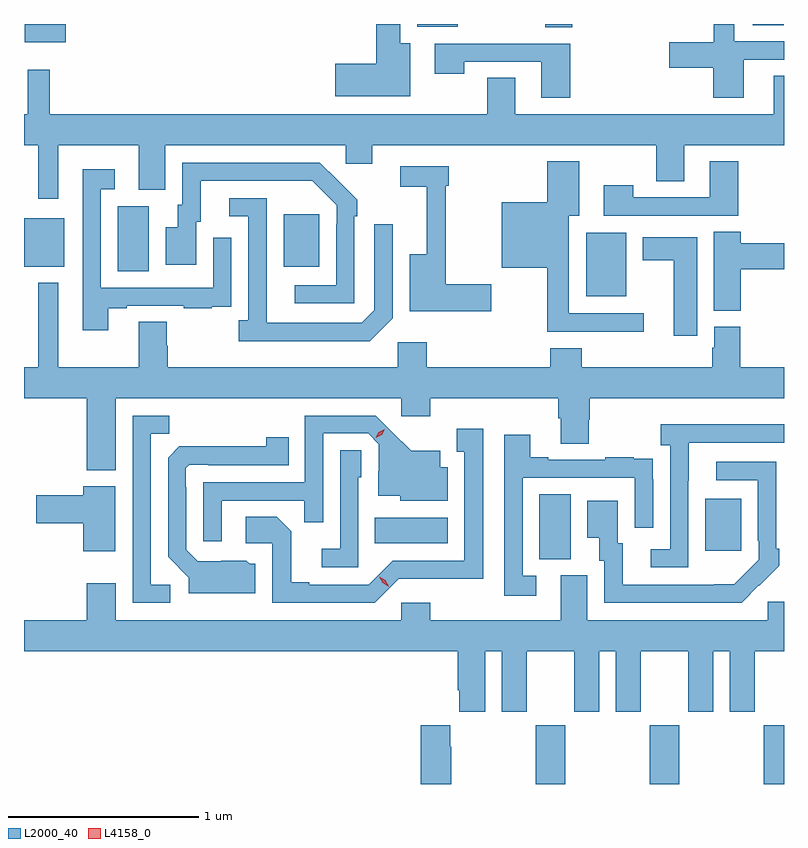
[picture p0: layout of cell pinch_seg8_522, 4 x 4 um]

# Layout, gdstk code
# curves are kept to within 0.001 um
import gdstk
lib = gdstk.Library(unit=1e-6, precision=1e-09)
def R(c, l, rs):  # rectangles x0, y0, x1, y1
    for r in rs: c.add(gdstk.rectangle(r[:2], r[2:], *l))
def P(c, l, *ps):  # polygons
    for p in ps: c.add(gdstk.Polygon(p, *l))
L2000_40 = (2000, 40)
L4158_0 = (4158, 0)

pinch_seg8_522 = lib.new_cell('pinch_seg8_522')
R(pinch_seg8_522, L2000_40, [(132.667,1117.134,132.822,1117.444), (133.267,1117.134,133.422,1117.444), (133.867,1117.134,133.973,1117.444), (132.686,1118.317,132.85,1118.66), (133.559,1118.361,133.747,1118.635), (131.818,1118.402,132.202,1118.536), (132.932,1119.701,133.144,1120.036), (130.466,1119.832,130.63,1120.176), (129.973,1119.857,130.186,1120.111), (131.339,1119.857,131.527,1120.132), (129.977,1121.039,130.192,1121.134), (132.716,1121.116,132.858,1121.134), (132.044,1121.12,132.256,1121.134), (133.808,1121.128,133.972,1121.134)])
P(pinch_seg8_522, L2000_40, [(133.762,1120.947),(133.973,1120.947),(133.973,1121.043),(133.71,1121.043),(133.71,1121.134),(133.602,1121.134),(133.602,1121.039),(133.368,1121.039),(133.368,1120.904),(133.601,1120.904),(133.601,1120.746),(133.762,1120.746)],
  [(132.007,1121.032),(131.953,1121.032),(131.953,1121.134),(131.828,1121.134),(131.828,1120.925),(131.61,1120.925),(131.61,1120.754),(132.007,1120.754)],
  [(132.848,1121.031),(132.135,1121.031),(132.135,1120.872),(132.291,1120.872),(132.291,1120.935),(132.695,1120.935),(132.695,1120.746),(132.848,1120.746)],
  [(130.109,1120.894),(129.992,1120.894),(129.992,1120.66),(129.973,1120.66),(129.973,1120.496),(130.049,1120.496),(130.049,1120.215),(130.153,1120.215),(130.153,1120.496),(130.577,1120.496),(130.577,1120.261),(130.717,1120.261),(130.717,1120.496),(131.667,1120.496),(131.667,1120.398),(131.806,1120.398),(131.806,1120.496),(133.3,1120.496),(133.3,1120.306),(133.447,1120.306),(133.447,1120.496),(133.973,1120.496),(133.973,1120.862),(133.919,1120.862),(133.919,1120.66),(132.559,1120.66),(132.559,1120.85),(132.412,1120.85),(132.412,1120.66),(130.109,1120.66)],
  [(133.234,1119.612),(132.841,1119.612),(132.841,1120.124),(132.895,1120.124),(132.895,1120.411),(132.728,1120.411),(132.728,1120.195),(132.488,1120.195),(132.488,1119.851),(132.728,1119.851),(132.728,1119.515),(133.234,1119.515)],
  [(133.731,1120.411),(133.583,1120.411),(133.583,1120.221),(133.179,1120.221),(133.179,1120.285),(133.023,1120.285),(133.023,1120.125),(133.731,1120.125)],
  [(131.712,1120.121),(131.727,1120.121),(131.727,1120.209),(131.53,1120.404),(130.806,1120.404),(130.806,1120.182),(130.781,1120.182),(130.781,1120.063),(130.718,1120.063),(130.718,1119.867),(130.879,1119.867),(130.879,1120.092),(130.903,1120.092),(130.903,1120.308),(131.491,1120.308),(131.619,1120.179),(131.619,1120.079),(131.616,1120.079),(131.616,1119.759),(131.397,1119.759),(131.397,1119.663),(131.712,1119.663)],
  [(132.433,1119.764),(132.194,1119.764),(132.194,1120.283),(132.209,1120.283),(132.209,1120.386),(131.952,1120.386),(131.952,1120.278),(132.092,1120.278),(132.092,1119.922),(132.002,1119.922),(132.002,1119.622),(132.433,1119.622)],
  [(130.417,1119.639),(130.513,1119.639),(130.513,1119.651),(130.813,1119.651),(130.813,1119.639),(130.961,1119.639),(130.961,1119.645),(131.063,1119.645),(131.063,1119.754),(131.064,1119.754),(131.064,1120.009),(130.968,1120.009),(130.968,1119.747),(130.377,1119.747),(130.377,1120.263),(130.45,1120.263),(130.45,1120.369),(130.281,1120.369),(130.281,1119.522),(130.417,1119.522)],
  [(131.913,1119.585),(131.913,1120.081),(131.817,1120.081),(131.817,1119.627),(131.751,1119.561),(131.251,1119.561),(131.25,1120.218),(131.052,1120.218),(131.052,1120.122),(131.154,1120.122),(131.154,1119.574),(131.103,1119.574),(131.103,1119.464),(131.792,1119.464)],
  [(133.746,1119.844),(133.973,1119.844),(133.973,1119.98),(133.746,1119.98),(133.746,1120.04),(133.604,1120.04),(133.604,1119.625),(133.746,1119.625)],
  [(133.516,1120.012),(133.229,1120.012),(133.229,1119.89),(133.394,1119.89),(133.394,1119.492),(133.516,1119.492)],
  [(131.958,1119.069),(132.11,1119.069),(132.11,1119.164),(132.785,1119.164),(132.785,1119.058),(132.797,1119.058),(132.797,1118.926),(132.945,1118.926),(132.945,1119.051),(132.95,1119.051),(132.95,1119.164),(133.973,1119.164),(133.973,1119.328),(133.743,1119.328),(133.743,1119.54),(133.607,1119.54),(133.607,1119.429),(133.595,1119.429),(133.595,1119.328),(132.908,1119.328),(132.908,1119.427),(132.743,1119.427),(132.743,1119.328),(132.092,1119.328),(132.092,1119.46),(131.94,1119.46),(131.94,1119.328),(130.73,1119.328),(130.73,1119.441),(130.725,1119.441),(130.725,1119.566),(130.577,1119.566),(130.577,1119.328),(130.153,1119.328),(130.153,1119.772),(130.049,1119.772),(130.049,1119.328),(129.973,1119.328),(129.973,1119.164),(130.304,1119.164),(130.304,1118.786),(130.456,1118.786),(130.456,1119.164),(131.958,1119.164)],
  [(131.013,1118.625),(131.449,1118.625),(131.449,1118.512),(131.547,1118.512),(131.547,1118.979),(131.784,1118.979),(131.841,1118.922),(131.841,1118.78),(131.837,1118.78),(131.837,1118.651),(131.952,1118.651),(131.952,1118.624),(132.202,1118.624),(132.202,1118.8),(132.163,1118.8),(132.163,1118.887),(132.011,1118.887),(131.824,1119.072),(131.451,1119.072),(131.451,1118.721),(130.917,1118.721),(130.917,1118.412),(131.013,1118.412)],
  [(130.744,1118.184),(130.641,1118.184),(130.641,1118.977),(130.737,1118.977),(130.737,1119.072),(130.545,1119.072),(130.545,1118.088),(130.744,1118.088)],
  [(133.47,1118.731),(133.471,1118.931),(133.971,1118.931),(133.973,1118.929),(133.973,1119.028),(133.323,1119.028),(133.323,1118.918),(133.374,1118.918),(133.374,1118.37),(133.272,1118.37),(133.272,1118.274),(133.47,1118.274)],
  [(131.946,1118.214),(132.391,1118.213),(132.391,1119.004),(132.251,1119.004),(132.251,1118.883),(132.29,1118.883),(132.29,1118.31),(131.913,1118.31),(131.787,1118.184),(131.473,1118.184),(131.473,1118.197),(131.379,1118.197),(131.379,1118.464),(131.303,1118.54),(131.139,1118.54),(131.139,1118.4),(131.28,1118.4),(131.28,1118.088),(131.82,1118.088)],
  [(132.67,1118.229),(132.597,1118.229),(132.597,1118.745),(133.188,1118.745),(133.188,1118.484),(133.284,1118.484),(133.284,1118.738),(133.283,1118.738),(133.283,1118.847),(133.181,1118.847),(133.181,1118.854),(133.033,1118.854),(133.033,1118.841),(132.733,1118.841),(132.733,1118.854),(132.637,1118.854),(132.637,1118.971),(132.501,1118.971),(132.501,1118.124),(132.67,1118.124)],
  [(131.191,1118.292),(131.16,1118.292),(131.144,1118.308),(130.887,1118.307),(130.827,1118.367),(130.827,1118.696),(130.824,1118.696),(130.824,1118.796),(130.842,1118.814),(130.942,1118.814),(130.942,1118.811),(131.366,1118.811),(131.366,1118.959),(131.248,1118.959),(131.248,1118.912),(130.79,1118.911),(130.731,1118.852),(130.731,1118.33),(130.841,1118.22),(130.841,1118.138),(131.191,1118.138)],
  [(131.733,1118.748),(131.748,1118.748),(131.748,1118.891),(131.637,1118.891),(131.637,1118.371),(131.541,1118.371),(131.541,1118.274),(131.733,1118.274)],
  [(133.841,1118.179),(133.842,1118.178),(133.947,1118.283),(133.947,1118.371),(133.932,1118.371),(133.932,1118.829),(133.617,1118.829),(133.617,1118.733),(133.836,1118.733),(133.836,1118.413),(133.839,1118.413),(133.839,1118.313),(133.711,1118.185),(133.123,1118.184),(133.123,1118.4),(133.099,1118.4),(133.099,1118.626),(132.938,1118.626),(132.938,1118.429),(133.001,1118.429),(133.001,1118.31),(133.026,1118.31),(133.026,1118.088),(133.75,1118.088)],
  [(130.453,1118.701),(130.286,1118.701),(130.286,1118.654),(130.038,1118.654),(130.038,1118.507),(130.286,1118.507),(130.286,1118.358),(130.453,1118.358)],
  [(132.4,1117.832),(132.488,1117.832),(132.488,1117.515),(132.619,1117.515),(132.619,1117.832),(132.869,1117.832),(132.869,1117.515),(133,1117.515),(133,1117.832),(133.088,1117.832),(133.088,1117.515),(133.219,1117.515),(133.219,1117.832),(133.469,1117.832),(133.469,1117.515),(133.6,1117.515),(133.6,1117.832),(133.688,1117.832),(133.688,1117.515),(133.819,1117.515),(133.819,1117.832),(133.973,1117.832),(133.973,1118.094),(133.887,1118.094),(133.887,1117.996),(132.937,1117.996),(132.937,1118.232),(132.797,1118.232),(132.797,1117.996),(132.11,1117.996),(132.11,1118.089),(131.958,1118.089),(131.958,1117.996),(130.456,1117.996),(130.456,1118.191),(130.304,1118.191),(130.304,1117.996),(129.973,1117.996),(129.973,1117.832),(132.257,1117.832),(132.257,1117.627),(132.263,1117.627),(132.263,1117.515),(132.4,1117.515)],
  [(132.222,1117.331),(132.217,1117.331),(132.217,1117.444),(132.062,1117.444),(132.062,1117.134),(132.222,1117.134)])
P(pinch_seg8_522, L4158_0, [(131.891,1118.174),(131.86,1118.193),(131.842,1118.226),(131.842,1118.226),(131.843,1118.226),(131.874,1118.207),(131.892,1118.174),(131.892,1118.174)],
  [(131.824,1118.956),(131.824,1118.956),(131.841,1118.986),(131.871,1119.001),(131.871,1119.001),(131.871,1119.001),(131.855,1118.971),(131.824,1118.956)])

lib.write_gds('pinch_seg8_522.gds')
